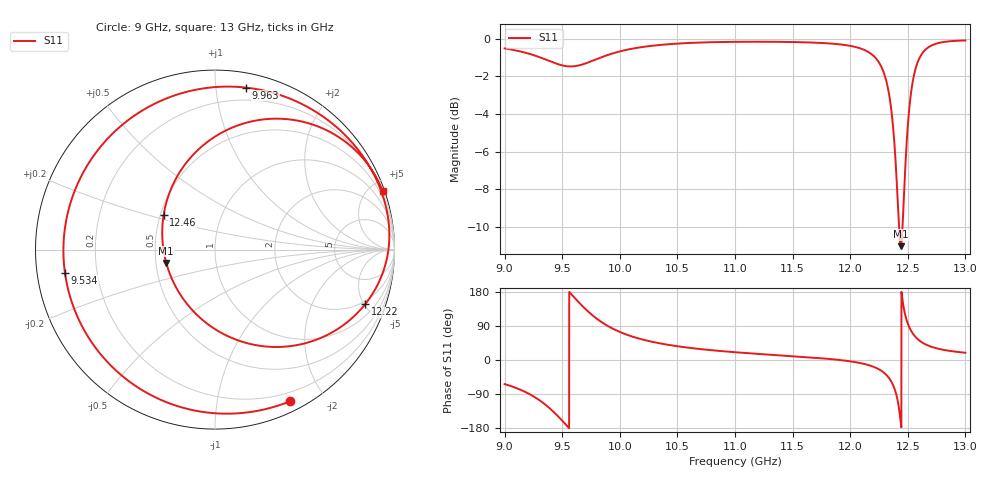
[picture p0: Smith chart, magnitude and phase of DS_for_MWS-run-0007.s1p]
! TOUCHSTONE file generated by CST DESIGN STUDIO
! Date and time: Tue Feb  4 13:25:49 2025
! Project name: C:\Work\MatlabApps\UnitCellOptimizationMatlab\CST\unitcell.cst
! Tree item: Tasks\Sweep1\SPara1\S-Parameters
! Header version: 2024
! Port assignment regex: !\s*Touchstone port\s*([0-9]+)\s*=\s*(CST MWS port|CST DES external port|CST DES block port)\s*(.+)\s* \(\"(.*)\"\)(\s*mode\s*([0-9]+))?.*
! Touchstone port assignment:
! Touchstone port 1 = CST DES external port 1 ("")
# GHz S MA R 50
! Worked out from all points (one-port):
!   4001 points, 9 GHz to 13 GHz, reference 50 ohm
!   lowest |S11| = -11.0 dB at 12.44 GHz (marker M1), VSWR 1.78, Z = 28.4 - j4.55 ohm
!   |S11| at or under -10 dB: 12.42352 GHz to 12.45408 GHz (30.56 MHz wide, 0.246 % of centre)
!   S11 on the Smith chart (normalised r, x): 9 GHz: 0.11, -1.61; 9.534 GHz: 0.08, -0.08; 9.963 GHz: 0.10, +1.20; 12.22 GHz: 1.74, -5.10; 12.46 GHz: 0.52, +0.23; 13 GHz: 0.19, +5.92
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9  0.943 -63.5
9.15  0.9233 -80.1
9.3  0.8942 -105.7
9.4  0.8701 -129.8
9.5  0.8498 -160.0
9.534  0.846 -171.3
9.627  0.8474 157.6
9.742  0.8691 123.3
9.841  0.8933 100.2
9.963  0.9191 79.1
10  0.9256 74.1
10.215  0.9526 52.7
10.5  0.9708 36.3
11  0.9814 20.5
11.5  0.9801 10.1
12  0.9576 -3.5
12.219  0.8902 -20.0
12.304  0.7913 -36.4
12.368  0.6024 -63.4
12.404  0.4167 -95.6
12.439  0.2816 -164.8
12.46  0.3449 146.1
12.5  0.5871 96.2
12.554  0.8012 65.6
12.602  0.8896 51.0
12.659  0.939 40.5
12.786  0.9772 28.3
13  0.9897 19.2
